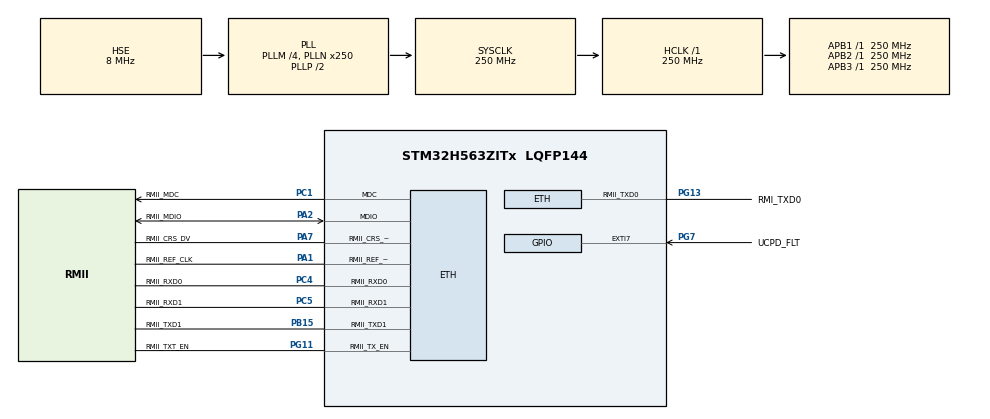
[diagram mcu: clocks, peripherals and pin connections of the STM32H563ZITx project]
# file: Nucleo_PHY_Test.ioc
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BOOTPATH.BootPathName=LEGACY
BOOTPATH.UserSelectedBootPath=LEGACY
CORTEX_M33_NS.Number-Cortex_Memory_Protection_Unit_Region0_OTP_RO_AREAS_Settings=MPU_REGION_NUMBER0
CORTEX_M33_NS.default_mode_Activation=1
CORTEX_M33_NS.userName=CORTEX_M33
ETH.MediaInterface=HAL_ETH_RMII_MODE
Mcu.Family=STM32H5
Mcu.Name=STM32H563ZITx
Mcu.Package=LQFP144
NUCLEO-H563ZI.BUTTON=1
NUCLEO-H563ZI.LD1=true
NUCLEO-H563ZI.LD2=true
NUCLEO-H563ZI.LD3=true
NUCLEO-H563ZI.VCP=true
NVIC.ETH_IRQn=true\:0\:0\:false\:false\:true\:true\:true\:true
NVIC.EXTI13_IRQn=true\:0\:0\:false\:false\:true\:false\:true\:true
NVIC.PriorityGroup=NVIC_PRIORITYGROUP_4
PA1.GPIO_Label=RMII_REF_CLK
PA1.GPIO_Mode=GPIO_MODE_AF_PP
PA1.GPIO_PuPd=GPIO_NOPULL
PA1.GPIO_Speed=GPIO_SPEED_FREQ_LOW
PA1.Mode=RMII
PA1.Signal=ETH_RMII_REF_CLK
PA11.GPIO_Label=USB_FS_N
PA11.Signal=USB_DM
PA12.GPIO_Label=USB_FS_P
PA12.Signal=USB_DP
PA13(JTMS/SWDIO).GPIO_Label=SWDIO
PA13(JTMS/SWDIO).Mode=Serial_Wire
PA13(JTMS/SWDIO).Signal=DEBUG_JTMS-SWDIO
PA14(JTCK/SWCLK).GPIO_Label=SWCLK
PA14(JTCK/SWCLK).Mode=Serial_Wire
PA14(JTCK/SWCLK).Signal=DEBUG_JTCK-SWCLK
PA15(JTDI).GPIO_Label=T_JTDI
PA15(JTDI).Signal=DEBUG_JTDI
PA2.GPIO_Label=RMII_MDIO
PA2.GPIO_Mode=GPIO_MODE_AF_PP
PA2.GPIO_PuPd=GPIO_NOPULL
PA2.GPIO_Speed=GPIO_SPEED_FREQ_LOW
PA2.Mode=RMII
PA2.Signal=ETH_MDIO
PA4.GPIO_Label=VBUS_SENSE
PA4.Signal=ADCx_INP18
PA7.GPIO_Label=RMII_CRS_DV
PA7.GPIO_Mode=GPIO_MODE_AF_PP
PA7.GPIO_PuPd=GPIO_NOPULL
PA7.GPIO_Speed=GPIO_SPEED_FREQ_LOW
PA7.Mode=RMII
PA7.Signal=ETH_RMII_CRS_DV
PA9.GPIO_Label=UCDP_DBn
PA9.Signal=UCPD1_DB1
PB13.GPIO_Label=UCPD_CC1
PB13.Signal=UCPD1_CC1
PB14.GPIO_Label=UCPD_CC2
PB14.Signal=UCPD1_CC2
PB15.GPIO_Label=RMII_TXD1
PB15.GPIO_Mode=GPIO_MODE_AF_PP
PB15.GPIO_PuPd=GPIO_NOPULL
PB15.GPIO_Speed=GPIO_SPEED_FREQ_LOW
PB15.Mode=RMII
PB15.Signal=ETH_RMII_TXD1
PB3(JTDO/TRACESWO).GPIO_Label=SWO
PB3(JTDO/TRACESWO).Signal=DEBUG_JTDO-SWO
PB6.GPIO_Label=ARD_D1_TX
PB6.Signal=LPUART1_TX
PB7.GPIO_Label=ARD_D0_RX
PB7.Signal=LPUART1_RX
PC1.GPIO_Label=RMII_MDC
PC1.GPIO_Mode=GPIO_MODE_AF_PP
PC1.GPIO_PuPd=GPIO_NOPULL
PC1.GPIO_Speed=GPIO_SPEED_FREQ_LOW
PC1.Mode=RMII
PC1.Signal=ETH_MDC
PC14-OSC32_IN(OSC32_IN).Mode=LSE-External-Oscillator
PC14-OSC32_IN(OSC32_IN).Signal=RCC_OSC32_IN
PC15-OSC32_OUT(OSC32_OUT).Mode=LSE-External-Oscillator
PC15-OSC32_OUT(OSC32_OUT).Signal=RCC_OSC32_OUT
PC4.GPIO_Label=RMII_RXD0
PC4.GPIO_Mode=GPIO_MODE_AF_PP
PC4.GPIO_PuPd=GPIO_NOPULL
PC4.GPIO_Speed=GPIO_SPEED_FREQ_LOW
PC4.Mode=RMII
PC4.Signal=ETH_RMII_RXD0
PC5.GPIO_Label=RMII_RXD1
PC5.GPIO_Mode=GPIO_MODE_AF_PP
PC5.GPIO_PuPd=GPIO_NOPULL
PC5.GPIO_Speed=GPIO_SPEED_FREQ_LOW
PC5.Mode=RMII
PC5.Signal=ETH_RMII_RXD1
PD8.Signal=USART3_TX
PD9.Signal=USART3_RX
PE2.GPIO_Label=TRACE_CK
PE2.Signal=DEBUG_TRACECLK
PE3.GPIO_Label=TRACE_D0
PE3.Signal=DEBUG_TRACED0
PE4.GPIO_Label=TRACE_D1
PE4.Signal=DEBUG_TRACED1
PE5.GPIO_Label=TRACE_D2
PE5.Signal=DEBUG_TRACED2
PE6.GPIO_Label=TRACE_D3
PE6.Signal=DEBUG_TRACED3
PG11.GPIO_Label=RMII_TXT_EN
PG11.GPIO_Mode=GPIO_MODE_AF_PP
PG11.GPIO_PuPd=GPIO_NOPULL
PG11.GPIO_Speed=GPIO_SPEED_FREQ_LOW
PG11.Mode=RMII
PG11.Signal=ETH_RMII_TX_EN
PG13.GPIO_Label=RMI_TXD0
PG13.GPIO_Mode=GPIO_MODE_AF_PP
PG13.GPIO_PuPd=GPIO_NOPULL
PG13.GPIO_Speed=GPIO_SPEED_FREQ_LOW
PG13.Mode=RMII
PG13.Signal=ETH_RMII_TXD0
PG7.GPIO_Label=UCPD_FLT
PG7.Signal=GPXTI7
PH0-OSC_IN(PH0).GPIO_Label=STLK_MCO
PH0-OSC_IN(PH0).Mode=HSE-External-Clock-Source
PH0-OSC_IN(PH0).Signal=RCC_OSC_IN
ProjectManager.HeapSize=0x200
ProjectManager.StackSize=0x400
ProjectManager.TargetToolchain=STM32CubeIDE
RCC.ADCFreq_Value=250000000
RCC.AHBFreq_Value=250000000
RCC.APB1Freq_Value=250000000
RCC.APB1TimFreq_Value=250000000
RCC.APB2Freq_Value=250000000
RCC.APB2TimFreq_Value=250000000
RCC.APB3Freq_Value=250000000
RCC.CSI_VALUE=4000000
RCC.CortexFreq_Value=250000000
RCC.EPOD_VALUE=8000000
RCC.HCLKFreq_Value=250000000
RCC.HSE_VALUE=8000000
RCC.HSI48_VALUE=48000000
RCC.HSIDiv=RCC_HSI_DIV1
RCC.HSI_VALUE=64000000
RCC.LSIRC_VALUE=32000
RCC.PLLM=4
RCC.PLLN=250
RCC.PLLSourceVirtual=RCC_PLL1_SOURCE_HSE
RCC.SYSCLKFreq_VALUE=250000000
RCC.SYSCLKSource=RCC_SYSCLKSOURCE_PLLCLK
RCC.USBFreq_Value=48000000
RCC.VCOOutputFreq_Value=500000000
SH.ADCx_INP18.0=ADC1_INP18
VP_BOOTPATH_VS_BOOTPATH.Mode=BP_Activate
VP_CORTEX_M33_NS_VS_Hclk.Mode=Hclk_Mode
VP_ICACHE_VS_ICACHE.Mode=DirectMappedCache
VP_MEMORYMAP_VS_MEMORYMAP.Mode=CurAppReg
VP_NUCLEO-H563ZI_VS_BSP_COMMON.Mode=COMMON
VP_PWR_VS_DBSignals.Mode=DisableDeadBatterySignals
VP_PWR_VS_LPOM.Mode=PowerOptimisation
VP_PWR_VS_SECSignals.Mode=Security/Privilege
board=NUCLEO-H563ZI

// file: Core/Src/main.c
/* USER CODE BEGIN Header */

// NO LWIP, TESTING PHY ON NUCLEO, NO BRANCH, LCAL

/**
  ******************************************************************************
  * @file           : main.c
  * @brief          : Main program body
  ******************************************************************************
  * @attention
  *
  * Copyright (c) 2026 STMicroelectronics.
  * All rights reserved.
  *
  * This software is licensed under terms that can be found in the LICENSE file
  * in the root directory of this software component.
  * If no LICENSE file comes with this software, it is provided AS-IS.
  *
  ******************************************************************************
  */
/* USER CODE END Header */
#include "main.h"
#include "string.h"

/* USER CODE BEGIN PD */
#define TX_PACKET_SIZE 60

/* USER CODE END PD */

ETH_TxPacketConfigTypeDef TxConfig;
ETH_DMADescTypeDef  DMARxDscrTab[ETH_RX_DESC_CNT]; /* Ethernet Rx DMA Descriptors */
ETH_DMADescTypeDef  DMATxDscrTab[ETH_TX_DESC_CNT]; /* Ethernet Tx DMA Descriptors */

COM_InitTypeDef BspCOMInit;

ETH_HandleTypeDef heth;

void SystemClock_Config(void);
static void MPU_Config(void);
static void MX_GPIO_Init(void);
static void MX_ETH_Init(void);
static void MX_ICACHE_Init(void);
/* USER CODE BEGIN PFP */

void TransmitTestPacket(void);

/* USER CODE END PFP */

int main(void)
{

  /* MCU Configuration--------------------------------------------------------*/

  /* MPU Configuration--------------------------------------------------------*/
  MPU_Config();

  /* Reset of all peripherals, Initializes the Flash interface and the Systick. */
  HAL_Init();

  /* Configure the system clock */
  SystemClock_Config();

  /* Initialize all configured peripherals */
  MX_GPIO_Init();
  MX_ETH_Init();
  MX_ICACHE_Init();
  /* USER CODE BEGIN 2 */

  /* Initialize leds */
  BSP_LED_Init(LED_GREEN);
  BSP_LED_Init(LED_YELLOW);
  BSP_LED_Init(LED_RED);

  /* Initialize USER push-button, will be used to trigger an interrupt each time it's pressed.*/
  BSP_PB_Init(BUTTON_USER, BUTTON_MODE_EXTI);

  /* Initialize COM1 port (115200, 8 bits (7-bit data + 1 stop bit), no parity */
  BspCOMInit.BaudRate   = 115200;
  BspCOMInit.WordLength = COM_WORDLENGTH_8B;
  BspCOMInit.StopBits   = COM_STOPBITS_1;
  BspCOMInit.Parity     = COM_PARITY_NONE;
  BspCOMInit.HwFlowCtl  = COM_HWCONTROL_NONE;
  if (BSP_COM_Init(COM1, &BspCOMInit) != BSP_ERROR_NONE)
  {
    Error_Handler();
  }

  if (HAL_ETH_Start(&heth) == HAL_OK)
    {

    } else {
  	  while(1){
  		  BSP_LED_Toggle(LED_RED);
  		  HAL_Delay(5000);
  	  }
    }

    uint32_t phy_reg_id1 = 0;
    uint32_t phy_reg_id2 = 0;
    uint32_t target_phy_addr = 0; // Try 0 first. If it fails, try 1.

    // Read PHY Register 2 and Register 3 (PHY Identifier Registers)
    HAL_ETH_ReadPHYRegister(&heth, target_phy_addr, 2, &phy_reg_id1);
    HAL_ETH_ReadPHYRegister(&heth, target_phy_addr, 3, &phy_reg_id2);

    // For a genuine LAN8742:
    // phy_reg_id1 should equal 0x0007
    // phy_reg_id2 should equal 0xC130 (lower bits might vary slightly by silicon stepping)
    if (phy_reg_id1 == 0x0007 && (phy_reg_id2 & 0xFFF0) == 0xC130) {
        // SUCCESS: MDIO interface works, and the PHY address matches perfectly!
    } else {
        // FAIL: Check your MDIO/MDC pull-up resistors or verify your strap-pin PHY address.
  	  while(1)
  	  {
  		  BSP_LED_Toggle(LED_RED);
  		  HAL_Delay(1000);
  		  BSP_LED_Toggle(LED_RED);
  		  HAL_Delay(1000);
  		  BSP_LED_Toggle(LED_RED);
  		  HAL_Delay(1000);
  		  BSP_LED_Toggle(LED_RED);
  		  HAL_Delay(2000);
  	  }
    }

    uint32_t reg0 = 0;
    HAL_ETH_ReadPHYRegister(&heth, 0, 0, &reg0);
    reg0 &= ~(1U << 12); // Disable Auto-Negotiation (Bit 12)
    reg0 |=  (1U << 13); // Force 100 Mbps (Bit 13)
    reg0 |=  (1U << 8);  // Force Full Duplex (Bit 8)
    HAL_ETH_WritePHYRegister(&heth, 0, 0, reg0);

    HAL_Delay(10);

    uint32_t what_reg = 0;
    HAL_ETH_ReadPHYRegister(&heth, 0, 0, &what_reg);

    uint32_t what_mode = 0;
    HAL_ETH_ReadPHYRegister(&heth, 0, 17, &what_mode);

  /* USER CODE END 2 */

  /* Infinite loop */
  while (1)
  {
	  BSP_LED_On(LED_RED);
	  TransmitTestPacket();
	  HAL_Delay(100);
	  BSP_LED_Off(LED_RED);
	  HAL_Delay(2000);

  }
}

void SystemClock_Config(void)
{
  RCC_OscInitTypeDef RCC_OscInitStruct = {0};
  RCC_ClkInitTypeDef RCC_ClkInitStruct = {0};

  /** Configure the main internal regulator output voltage
  */
  __HAL_PWR_VOLTAGESCALING_CONFIG(PWR_REGULATOR_VOLTAGE_SCALE0);

  while(!__HAL_PWR_GET_FLAG(PWR_FLAG_VOSRDY)) {}

  /** Initializes the RCC Oscillators according to the specified parameters
  * in the RCC_OscInitTypeDef structure.
  */
  RCC_OscInitStruct.OscillatorType = RCC_OSCILLATORTYPE_HSE;
  RCC_OscInitStruct.HSEState = RCC_HSE_BYPASS;
  RCC_OscInitStruct.PLL.PLLState = RCC_PLL_ON;
  RCC_OscInitStruct.PLL.PLLSource = RCC_PLL1_SOURCE_HSE;
  RCC_OscInitStruct.PLL.PLLM = 4;
  RCC_OscInitStruct.PLL.PLLN = 250;
  RCC_OscInitStruct.PLL.PLLP = 2;
  RCC_OscInitStruct.PLL.PLLQ = 2;
  RCC_OscInitStruct.PLL.PLLR = 2;
  RCC_OscInitStruct.PLL.PLLRGE = RCC_PLL1_VCIRANGE_1;
  RCC_OscInitStruct.PLL.PLLVCOSEL = RCC_PLL1_VCORANGE_WIDE;
  RCC_OscInitStruct.PLL.PLLFRACN = 0;
  if (HAL_RCC_OscConfig(&RCC_OscInitStruct) != HAL_OK)
  {
    Error_Handler();
  }

  /** Initializes the CPU, AHB and APB buses clocks
  */
  RCC_ClkInitStruct.ClockType = RCC_CLOCKTYPE_HCLK|RCC_CLOCKTYPE_SYSCLK
                              |RCC_CLOCKTYPE_PCLK1|RCC_CLOCKTYPE_PCLK2
                              |RCC_CLOCKTYPE_PCLK3;
  RCC_ClkInitStruct.SYSCLKSource = RCC_SYSCLKSOURCE_PLLCLK;
  RCC_ClkInitStruct.AHBCLKDivider = RCC_SYSCLK_DIV1;
  RCC_ClkInitStruct.APB1CLKDivider = RCC_HCLK_DIV1;
  RCC_ClkInitStruct.APB2CLKDivider = RCC_HCLK_DIV1;
  RCC_ClkInitStruct.APB3CLKDivider = RCC_HCLK_DIV1;

  if (HAL_RCC_ClockConfig(&RCC_ClkInitStruct, FLASH_LATENCY_5) != HAL_OK)
  {
    Error_Handler();
  }

  /** Configure the programming delay
  */
  __HAL_FLASH_SET_PROGRAM_DELAY(FLASH_PROGRAMMING_DELAY_2);
}

static void MX_ETH_Init(void)
{

   static uint8_t MACAddr[6];

  heth.Instance = ETH;
  MACAddr[0] = 0x00;
  MACAddr[1] = 0x80;
  MACAddr[2] = 0xE1;
  MACAddr[3] = 0x00;
  MACAddr[4] = 0x00;
  MACAddr[5] = 0x00;
  heth.Init.MACAddr = &MACAddr[0];
  heth.Init.MediaInterface = HAL_ETH_RMII_MODE;
  heth.Init.TxDesc = DMATxDscrTab;
  heth.Init.RxDesc = DMARxDscrTab;
  heth.Init.RxBuffLen = 1524;

  if (HAL_ETH_Init(&heth) != HAL_OK)
  {
    Error_Handler();
  }

  memset(&TxConfig, 0 , sizeof(ETH_TxPacketConfigTypeDef));
  TxConfig.Attributes = ETH_TX_PACKETS_FEATURES_CSUM | ETH_TX_PACKETS_FEATURES_CRCPAD;
  TxConfig.ChecksumCtrl = ETH_CHECKSUM_IPHDR_PAYLOAD_INSERT_PHDR_CALC;
  TxConfig.CRCPadCtrl = ETH_CRC_PAD_INSERT;

}

static void MX_ICACHE_Init(void)
{

  /** Enable instruction cache in 1-way (direct mapped cache)
  */
  if (HAL_ICACHE_ConfigAssociativityMode(ICACHE_1WAY) != HAL_OK)
  {
    Error_Handler();
  }
  if (HAL_ICACHE_Enable() != HAL_OK)
  {
    Error_Handler();
  }

}

static void MX_GPIO_Init(void)
{
  GPIO_InitTypeDef GPIO_InitStruct = {0};

  /* GPIO Ports Clock Enable */
  __HAL_RCC_GPIOE_CLK_ENABLE();
  __HAL_RCC_GPIOC_CLK_ENABLE();
  __HAL_RCC_GPIOH_CLK_ENABLE();
  __HAL_RCC_GPIOA_CLK_ENABLE();
  __HAL_RCC_GPIOB_CLK_ENABLE();
  __HAL_RCC_GPIOG_CLK_ENABLE();

  /*Configure GPIO pin : VBUS_SENSE_Pin */
  GPIO_InitStruct.Pin = VBUS_SENSE_Pin;
  GPIO_InitStruct.Mode = GPIO_MODE_ANALOG;
  GPIO_InitStruct.Pull = GPIO_NOPULL;
  HAL_GPIO_Init(VBUS_SENSE_GPIO_Port, &GPIO_InitStruct);

  /*Configure GPIO pins : UCPD_CC1_Pin UCPD_CC2_Pin */
  GPIO_InitStruct.Pin = UCPD_CC1_Pin|UCPD_CC2_Pin;
  GPIO_InitStruct.Mode = GPIO_MODE_ANALOG;
  GPIO_InitStruct.Pull = GPIO_NOPULL;
  HAL_GPIO_Init(GPIOB, &GPIO_InitStruct);

  /*Configure GPIO pin : UCPD_FLT_Pin */
  GPIO_InitStruct.Pin = UCPD_FLT_Pin;
  GPIO_InitStruct.Mode = GPIO_MODE_IT_RISING;
  GPIO_InitStruct.Pull = GPIO_NOPULL;
  HAL_GPIO_Init(UCPD_FLT_GPIO_Port, &GPIO_InitStruct);

  /*Configure GPIO pins : USB_FS_N_Pin USB_FS_P_Pin */
  GPIO_InitStruct.Pin = USB_FS_N_Pin|USB_FS_P_Pin;
  GPIO_InitStruct.Mode = GPIO_MODE_AF_PP;
  GPIO_InitStruct.Pull = GPIO_NOPULL;
  GPIO_InitStruct.Speed = GPIO_SPEED_FREQ_LOW;
  GPIO_InitStruct.Alternate = GPIO_AF10_USB;
  HAL_GPIO_Init(GPIOA, &GPIO_InitStruct);

  /*Configure GPIO pins : SWDIO_Pin T_JTDI_Pin */
  GPIO_InitStruct.Pin = SWDIO_Pin|T_JTDI_Pin;
  GPIO_InitStruct.Mode = GPIO_MODE_AF_PP;
  GPIO_InitStruct.Pull = GPIO_PULLUP;
  GPIO_InitStruct.Speed = GPIO_SPEED_FREQ_LOW;
  GPIO_InitStruct.Alternate = GPIO_AF0_TRACE;
  HAL_GPIO_Init(GPIOA, &GPIO_InitStruct);

  /*Configure GPIO pin : SWO_Pin */
  GPIO_InitStruct.Pin = SWO_Pin;
  GPIO_InitStruct.Mode = GPIO_MODE_AF_PP;
  GPIO_InitStruct.Pull = GPIO_NOPULL;
  GPIO_InitStruct.Speed = GPIO_SPEED_FREQ_LOW;
  GPIO_InitStruct.Alternate = GPIO_AF0_TRACE;
  HAL_GPIO_Init(SWO_GPIO_Port, &GPIO_InitStruct);

  /*Configure GPIO pins : ARD_D1_TX_Pin ARD_D0_RX_Pin */
  GPIO_InitStruct.Pin = ARD_D1_TX_Pin|ARD_D0_RX_Pin;
  GPIO_InitStruct.Mode = GPIO_MODE_AF_PP;
  GPIO_InitStruct.Pull = GPIO_NOPULL;
  GPIO_InitStruct.Speed = GPIO_SPEED_FREQ_LOW;
  GPIO_InitStruct.Alternate = GPIO_AF8_LPUART1;
  HAL_GPIO_Init(GPIOB, &GPIO_InitStruct);

}

 /* MPU Configuration */

void MPU_Config(void)
{
  MPU_Region_InitTypeDef MPU_InitStruct = {0};
  MPU_Attributes_InitTypeDef MPU_AttributesInit = {0};

  /* Disables the MPU */
  HAL_MPU_Disable();

  /** Initializes and configures the Region 0 and the memory to be protected
  */
  MPU_InitStruct.Enable = MPU_REGION_ENABLE;
  MPU_InitStruct.Number = MPU_REGION_NUMBER0;
  MPU_InitStruct.BaseAddress = 0x08FFF000;
  MPU_InitStruct.LimitAddress = 0x08FFFFFF;
  MPU_InitStruct.AttributesIndex = MPU_ATTRIBUTES_NUMBER0;
  MPU_InitStruct.AccessPermission = MPU_REGION_ALL_RO;
  MPU_InitStruct.DisableExec = MPU_INSTRUCTION_ACCESS_DISABLE;
  MPU_InitStruct.IsShareable = MPU_ACCESS_NOT_SHAREABLE;

  HAL_MPU_ConfigRegion(&MPU_InitStruct);

  /** Initializes and configures the Attribute 0 and the memory to be protected
  */
  MPU_AttributesInit.Number = MPU_ATTRIBUTES_NUMBER0;
  MPU_AttributesInit.Attributes = INNER_OUTER(MPU_NOT_CACHEABLE);

  HAL_MPU_ConfigMemoryAttributes(&MPU_AttributesInit);
  /* Enables the MPU */
  HAL_MPU_Enable(MPU_PRIVILEGED_DEFAULT);

}

void TransmitTestPacket(void)
{

	  //   1. Prepare a dummy frame buffer (Minimum Ethernet frame size is 60 bytes)
	ETH_BufferTypeDef TxConfig;
	ETH_TxPacketConfig TxPacketConfig;
	uint8_t TxBuffer[TX_PACKET_SIZE];

	/* 1. Build a dummy Ethernet Frame */
	/* Destination MAC (6 bytes) - e.g., Broadcast */
	memset(&TxBuffer[0], 0xFF, 6);
	/* Source MAC (6 bytes) */
	memset(&TxBuffer[6], 0x02, 6);
	/* Length/Type field (2 bytes) - Custom experimental type */
	TxBuffer[12] = 0x88;
	TxBuffer[13] = 0xB5;

	/* Fill Payload with a pattern (0, 1, 2, 3...) */
	for(int i = 14; i < TX_PACKET_SIZE; i++)
	{
	  TxBuffer[i] = (uint8_t)(i - 14);
	}

	/* 2. Configure the HAL TX structure for STM32H5 */
	TxConfig.buffer = TxBuffer;
	TxConfig.len    = TX_PACKET_SIZE;
	TxConfig.next   = NULL; // Single buffer packet

	memset(&TxPacketConfig, 0, sizeof(ETH_TxPacketConfig));
	TxPacketConfig.Attributes = ETH_TX_PACKETS_FEATURES_CSUM | ETH_TX_PACKETS_FEATURES_CRCPAD;
	TxPacketConfig.CRCPadCtrl = ETH_CRC_PAD_INSERT; // Hardware appends CRC
	TxPacketConfig.TxBuffer   = &TxConfig;
	TxPacketConfig.Length     = TX_PACKET_SIZE;

	// 3. Transmit the frame
	if (HAL_ETH_Transmit(&heth, &TxPacketConfig, HAL_MAX_DELAY) == HAL_OK) {
		// Transmit triggered successfully!
	} else {
	  while(1)
	  {
		  BSP_LED_Toggle(LED_RED);
		  HAL_Delay(100);
		  BSP_LED_Toggle(LED_RED);
		  HAL_Delay(100);
		  BSP_LED_Toggle(LED_RED);
		  HAL_Delay(100);
		  BSP_LED_Toggle(LED_RED);
		  HAL_Delay(2000);
	  }
	}
}

void Error_Handler(void)
{
  __disable_irq();
  while (1)
  {
  }
}
